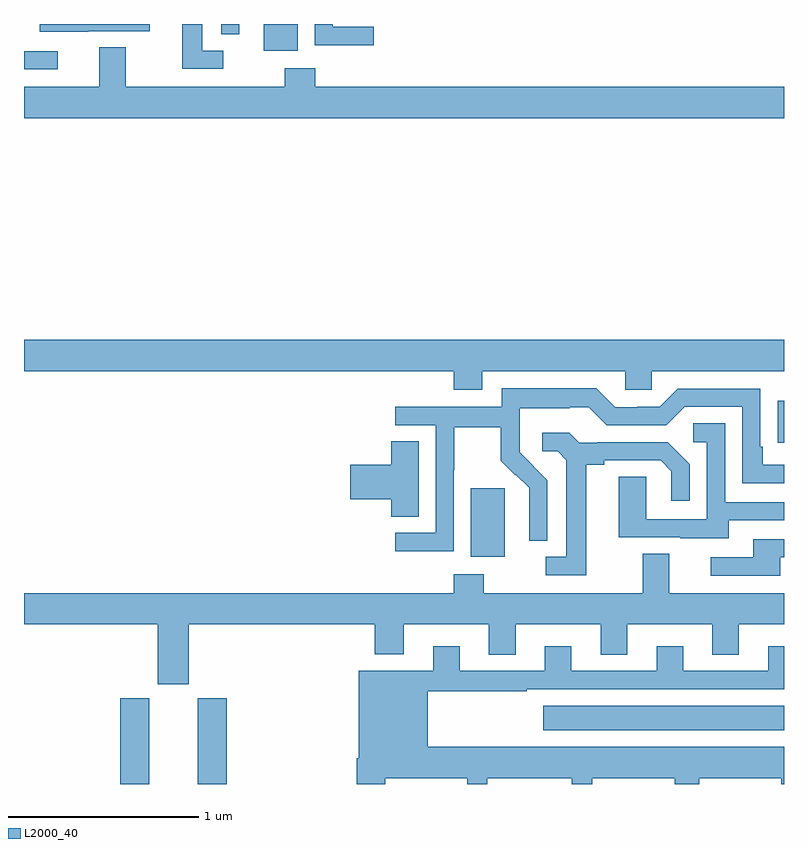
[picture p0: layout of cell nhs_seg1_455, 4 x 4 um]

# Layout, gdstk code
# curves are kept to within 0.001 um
import gdstk
lib = gdstk.Library(unit=1e-6, precision=1e-09)
def R(c, l, rs):  # rectangles x0, y0, x1, y1
    for r in rs: c.add(gdstk.rectangle(r[:2], r[2:], *l))
def P(c, l, *ps):  # polygons
    for p in ps: c.add(gdstk.Polygon(p, *l))
L2000_40 = (2000, 40)

nhs_seg1_455 = lib.new_cell('nhs_seg1_455')
R(nhs_seg1_455, L2000_40, [(135.506,576.199,135.658,576.651), (135.914,576.199,136.067,576.651), (137.733,576.482,139,576.61), (137.351,577.394,137.53,577.755), (138.967,577.996,139,578.215), (135,579.96,135.178,580.056), (136.262,580.058,136.441,580.199), (136.038,580.144,136.134,580.199)])
P(nhs_seg1_455, L2000_40, [(136.84,580.185),(136.626,580.185),(136.626,580.199),(136.53,580.199),(136.53,580.087),(136.84,580.087)],
  [(135.337,580.161),(135.661,580.161),(135.661,580.199),(135.083,580.199),(135.083,580.157),(135.337,580.157)],
  [(136.048,580.059),(135.937,580.059),(135.937,580.199),(135.833,580.199),(135.833,579.963),(136.048,579.963)],
  [(139,579.868),(136.532,579.868),(136.532,579.967),(136.372,579.967),(136.372,579.868),(135.535,579.868),(135.535,580.076),(135.395,580.076),(135.395,579.868),(135,579.868),(135,579.704),(139,579.704)],
  [(137.413,578.372),(138.165,578.372),(138.165,578.274),(138.303,578.274),(138.303,578.372),(139,578.372),(139,578.536),(135,578.536),(135,578.372),(137.261,578.372),(137.261,578.273),(137.413,578.273)],
  [(137.262,577.852),(137.265,577.852),(137.265,578.076),(137.509,578.076),(137.509,577.901),(137.586,577.824),(137.589,577.827),(137.66,577.757),(137.66,577.634),(137.658,577.634),(137.658,577.48),(137.754,577.48),(137.754,577.798),(137.608,577.946),(137.608,578.043),(137.61,578.043),(137.61,578.177),(137.873,578.177),(137.873,578.181),(137.973,578.181),(138.066,578.088),(138.381,578.088),(138.477,578.184),(138.78,578.184),(138.78,577.782),(139,577.782),(139,577.878),(138.889,577.878),(138.889,577.975),(138.876,577.975),(138.876,578.28),(138.441,578.28),(138.345,578.184),(138.227,578.184),(138.227,578.181),(138.111,578.181),(138.011,578.281),(137.514,578.281),(137.514,578.184),(136.953,578.184),(136.953,578.088),(137.166,578.088),(137.166,577.521),(136.953,577.521),(136.953,577.423),(137.262,577.423)],
  [(138.709,577.587),(139,577.587),(139,577.683),(138.69,577.683),(138.69,578.099),(138.522,578.099),(138.522,577.998),(138.594,577.998),(138.594,577.593),(138.276,577.593),(138.276,577.817),(138.131,577.817),(138.131,577.497),(138.455,577.497),(138.455,577.493),(138.709,577.493)],
  [(137.959,577.88),(138.055,577.88),(138.055,577.902),(138.35,577.902),(138.407,577.845),(138.407,577.689),(138.504,577.689),(138.504,577.882),(138.388,577.998),(138.016,577.998),(138.016,577.995),(137.922,577.995),(137.87,578.047),(137.727,578.047),(137.727,577.95),(137.808,577.95),(137.855,577.903),(137.855,577.395),(137.745,577.395),(137.745,577.299),(137.959,577.299)],
  [(137.077,578.003),(136.934,578.003),(136.934,577.88),(136.716,577.88),(136.716,577.697),(136.934,577.697),(136.934,577.606),(137.077,577.606)],
  [(138.979,577.392),(139,577.392),(139,577.488),(138.839,577.488),(138.839,577.392),(138.615,577.392),(138.615,577.296),(138.979,577.296)],
  [(135.868,577.04),(136.847,577.04),(136.847,576.881),(136.999,576.881),(136.999,577.04),(137.447,577.04),(137.447,576.88),(137.587,576.88),(137.587,577.04),(138.035,577.04),(138.035,576.88),(138.175,576.88),(138.175,577.04),(138.623,577.04),(138.623,576.88),(138.763,576.88),(138.763,577.04),(139,577.04),(139,577.204),(138.397,577.204),(138.397,577.412),(138.257,577.412),(138.257,577.204),(137.421,577.204),(137.421,577.303),(137.261,577.303),(137.261,577.204),(135,577.204),(135,577.04),(135.704,577.04),(135.704,576.723),(135.868,576.723)],
  [(136.9,576.23),(137.333,576.23),(137.333,576.199),(137.437,576.199),(137.437,576.23),(137.882,576.23),(137.882,576.199),(137.992,576.199),(137.992,576.23),(138.425,576.23),(138.425,576.199),(138.553,576.199),(138.553,576.23),(138.986,576.23),(138.986,576.199),(139,576.199),(139,576.394),(137.125,576.394),(137.125,576.687),(137.645,576.687),(137.645,576.699),(139,576.699),(139,576.925),(138.917,576.925),(138.917,576.795),(138.469,576.795),(138.469,576.925),(138.329,576.925),(138.329,576.795),(137.881,576.795),(137.881,576.925),(137.741,576.925),(137.741,576.795),(137.293,576.795),(137.293,576.925),(137.153,576.925),(137.153,576.796),(136.763,576.796),(136.763,576.334),(136.751,576.334),(136.751,576.199),(136.9,576.199)])

lib.write_gds('nhs_seg1_455.gds')
